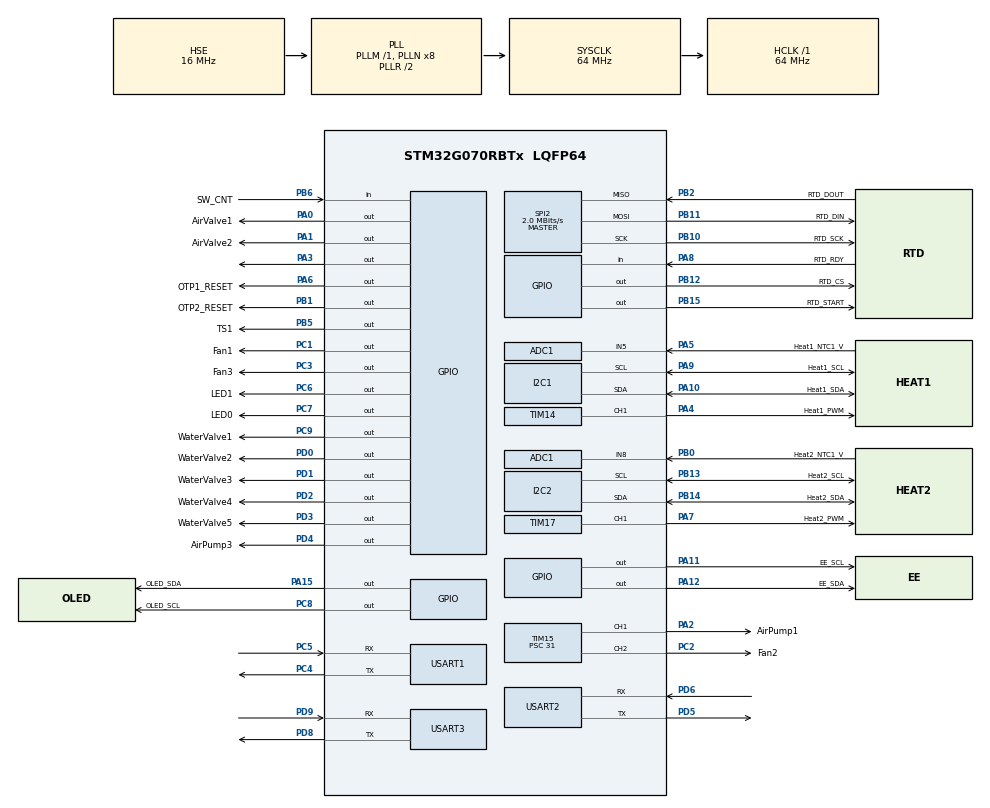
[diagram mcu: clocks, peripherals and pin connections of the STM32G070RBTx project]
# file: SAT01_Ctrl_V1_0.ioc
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ADC1.Channel-0\#ChannelRegularConversion=ADC_CHANNEL_5
ADC1.NbrOfConversionFlag=1
ADC1.Rank-0\#ChannelRegularConversion=1
ADC1.SamplingTime-0\#ChannelRegularConversion=ADC_SAMPLINGTIME_COMMON_1
ADC1.SelectedChannel=ADC_CHANNEL_5|ADC_CHANNEL_8
ADC1.master=1
Dma.Request0=USART2_RX
Dma.Request1=USART2_TX
Dma.Request2=USART1_RX
Dma.Request3=USART1_TX
Dma.Request4=USART3_RX
Dma.Request5=USART3_TX
Dma.USART1_RX.2.Direction=DMA_PERIPH_TO_MEMORY
Dma.USART1_RX.2.EventEnable=DISABLE
Dma.USART1_RX.2.Instance=DMA1_Channel5
Dma.USART1_RX.2.MemDataAlignment=DMA_MDATAALIGN_BYTE
Dma.USART1_RX.2.MemInc=DMA_MINC_ENABLE
Dma.USART1_RX.2.Mode=DMA_NORMAL
Dma.USART1_RX.2.PeriphDataAlignment=DMA_PDATAALIGN_BYTE
Dma.USART1_RX.2.PeriphInc=DMA_PINC_DISABLE
Dma.USART1_RX.2.Polarity=HAL_DMAMUX_REQ_GEN_RISING
Dma.USART1_RX.2.Priority=DMA_PRIORITY_LOW
Dma.USART1_RX.2.RequestNumber=1
Dma.USART1_RX.2.SignalID=NONE
Dma.USART1_RX.2.SyncEnable=DISABLE
Dma.USART1_RX.2.SyncPolarity=HAL_DMAMUX_SYNC_NO_EVENT
Dma.USART1_RX.2.SyncRequestNumber=1
Dma.USART1_RX.2.SyncSignalID=NONE
Dma.USART1_TX.3.Direction=DMA_MEMORY_TO_PERIPH
Dma.USART1_TX.3.EventEnable=DISABLE
Dma.USART1_TX.3.Instance=DMA1_Channel6
Dma.USART1_TX.3.MemDataAlignment=DMA_MDATAALIGN_BYTE
Dma.USART1_TX.3.MemInc=DMA_MINC_ENABLE
Dma.USART1_TX.3.Mode=DMA_NORMAL
Dma.USART1_TX.3.PeriphDataAlignment=DMA_PDATAALIGN_BYTE
Dma.USART1_TX.3.PeriphInc=DMA_PINC_DISABLE
Dma.USART1_TX.3.Polarity=HAL_DMAMUX_REQ_GEN_RISING
Dma.USART1_TX.3.Priority=DMA_PRIORITY_LOW
Dma.USART1_TX.3.RequestNumber=1
Dma.USART1_TX.3.SignalID=NONE
Dma.USART1_TX.3.SyncEnable=DISABLE
Dma.USART1_TX.3.SyncPolarity=HAL_DMAMUX_SYNC_NO_EVENT
Dma.USART1_TX.3.SyncRequestNumber=1
Dma.USART1_TX.3.SyncSignalID=NONE
Dma.USART2_RX.0.Direction=DMA_PERIPH_TO_MEMORY
Dma.USART2_RX.0.EventEnable=DISABLE
Dma.USART2_RX.0.Instance=DMA1_Channel1
Dma.USART2_RX.0.MemDataAlignment=DMA_MDATAALIGN_BYTE
Dma.USART2_RX.0.MemInc=DMA_MINC_ENABLE
Dma.USART2_RX.0.Mode=DMA_NORMAL
Dma.USART2_RX.0.PeriphDataAlignment=DMA_PDATAALIGN_BYTE
Dma.USART2_RX.0.PeriphInc=DMA_PINC_DISABLE
Dma.USART2_RX.0.Polarity=HAL_DMAMUX_REQ_GEN_RISING
Dma.USART2_RX.0.Priority=DMA_PRIORITY_LOW
Dma.USART2_RX.0.RequestNumber=1
Dma.USART2_RX.0.SignalID=NONE
Dma.USART2_RX.0.SyncEnable=DISABLE
Dma.USART2_RX.0.SyncPolarity=HAL_DMAMUX_SYNC_NO_EVENT
Dma.USART2_RX.0.SyncRequestNumber=1
Dma.USART2_RX.0.SyncSignalID=NONE
Dma.USART2_TX.1.Direction=DMA_MEMORY_TO_PERIPH
Dma.USART2_TX.1.EventEnable=DISABLE
Dma.USART2_TX.1.Instance=DMA1_Channel2
Dma.USART2_TX.1.MemDataAlignment=DMA_MDATAALIGN_BYTE
Dma.USART2_TX.1.MemInc=DMA_MINC_ENABLE
Dma.USART2_TX.1.Mode=DMA_NORMAL
Dma.USART2_TX.1.PeriphDataAlignment=DMA_PDATAALIGN_BYTE
Dma.USART2_TX.1.PeriphInc=DMA_PINC_DISABLE
Dma.USART2_TX.1.Polarity=HAL_DMAMUX_REQ_GEN_RISING
Dma.USART2_TX.1.Priority=DMA_PRIORITY_LOW
Dma.USART2_TX.1.RequestNumber=1
Dma.USART2_TX.1.SignalID=NONE
Dma.USART2_TX.1.SyncEnable=DISABLE
Dma.USART2_TX.1.SyncPolarity=HAL_DMAMUX_SYNC_NO_EVENT
Dma.USART2_TX.1.SyncRequestNumber=1
Dma.USART2_TX.1.SyncSignalID=NONE
Dma.USART3_RX.4.Direction=DMA_PERIPH_TO_MEMORY
Dma.USART3_RX.4.EventEnable=DISABLE
Dma.USART3_RX.4.Instance=DMA1_Channel3
Dma.USART3_RX.4.MemDataAlignment=DMA_MDATAALIGN_BYTE
Dma.USART3_RX.4.MemInc=DMA_MINC_ENABLE
Dma.USART3_RX.4.Mode=DMA_NORMAL
Dma.USART3_RX.4.PeriphDataAlignment=DMA_PDATAALIGN_BYTE
Dma.USART3_RX.4.PeriphInc=DMA_PINC_DISABLE
Dma.USART3_RX.4.Polarity=HAL_DMAMUX_REQ_GEN_RISING
Dma.USART3_RX.4.Priority=DMA_PRIORITY_LOW
Dma.USART3_RX.4.RequestNumber=1
Dma.USART3_RX.4.SignalID=NONE
Dma.USART3_RX.4.SyncEnable=DISABLE
Dma.USART3_RX.4.SyncPolarity=HAL_DMAMUX_SYNC_NO_EVENT
Dma.USART3_RX.4.SyncRequestNumber=1
Dma.USART3_RX.4.SyncSignalID=NONE
Dma.USART3_TX.5.Direction=DMA_MEMORY_TO_PERIPH
Dma.USART3_TX.5.EventEnable=DISABLE
Dma.USART3_TX.5.Instance=DMA1_Channel4
Dma.USART3_TX.5.MemDataAlignment=DMA_MDATAALIGN_BYTE
Dma.USART3_TX.5.MemInc=DMA_MINC_ENABLE
Dma.USART3_TX.5.Mode=DMA_NORMAL
Dma.USART3_TX.5.PeriphDataAlignment=DMA_PDATAALIGN_BYTE
Dma.USART3_TX.5.PeriphInc=DMA_PINC_DISABLE
Dma.USART3_TX.5.Polarity=HAL_DMAMUX_REQ_GEN_RISING
Dma.USART3_TX.5.Priority=DMA_PRIORITY_LOW
Dma.USART3_TX.5.RequestNumber=1
Dma.USART3_TX.5.SignalID=NONE
Dma.USART3_TX.5.SyncEnable=DISABLE
Dma.USART3_TX.5.SyncPolarity=HAL_DMAMUX_SYNC_NO_EVENT
Dma.USART3_TX.5.SyncRequestNumber=1
Dma.USART3_TX.5.SyncSignalID=NONE
FREERTOS.Tasks01=defaultTask,0,128,StartDefaultTask,Default,NULL,Dynamic,NULL,NULL
FREERTOS.configTIMER_TASK_PRIORITY=6
FREERTOS.configTOTAL_HEAP_SIZE=30000
FREERTOS.configUSE_TIMERS=1
I2C1.Timing=0x10B17DB5
I2C2.Timing=0x10B17DB5
Mcu.Family=STM32G0
Mcu.Name=STM32G070RBTx
Mcu.Package=LQFP64
NVIC.DMA1_Ch4_7_DMAMUX1_OVR_IRQn=true\:3\:0\:false\:false\:true\:true\:false\:true\:true
NVIC.DMA1_Channel1_IRQn=true\:3\:0\:false\:false\:true\:true\:false\:true\:true
NVIC.DMA1_Channel2_3_IRQn=true\:3\:0\:false\:false\:true\:true\:false\:true\:true
NVIC.TIM6_IRQn=true\:3\:0\:false\:false\:true\:false\:false\:true\:true
NVIC.TimeBase=TIM6_IRQn
NVIC.TimeBaseIP=TIM6
NVIC.USART1_IRQn=true\:3\:0\:false\:false\:true\:true\:true\:true\:true
NVIC.USART2_IRQn=true\:3\:0\:false\:false\:true\:true\:true\:true\:true
NVIC.USART3_4_IRQn=true\:3\:0\:false\:false\:true\:true\:true\:true\:true
PA0.GPIO_Label=AirValve1
PA0.Signal=GPIO_Output
PA1.GPIO_Label=AirValve2
PA1.Signal=GPIO_Output
PA10.GPIO_Label=Heat1_SDA
PA10.Mode=I2C
PA10.Signal=I2C1_SDA
PA11\ [PA9].GPIO_Label=EE_SCL
PA11\ [PA9].Signal=GPIO_Output
PA12\ [PA10].GPIO_Label=EE_SDA
PA12\ [PA10].Signal=GPIO_Output
PA13.Mode=Serial_Wire
PA13.Signal=SYS_SWDIO
PA14-BOOT0.Mode=Serial_Wire
PA14-BOOT0.Signal=SYS_SWCLK
PA15.GPIO_Label=OLED_SDA
PA15.Signal=GPIO_Output
PA2.GPIO_Label=AirPump1
PA2.Signal=S_TIM15_CH1
PA3.Signal=GPIO_Output
PA4.GPIO_Label=Heat1_PWM
PA4.Signal=S_TIM14_CH1
PA5.GPIO_Label=Heat1_NTC1_V
PA5.Mode=IN5
PA5.Signal=ADC1_IN5
PA6.GPIO_Label=OTP1_RESET
PA6.GPIO_ModeDefaultOutputPP=GPIO_MODE_OUTPUT_PP
PA6.GPIO_PuPd=GPIO_NOPULL
PA6.PinState=GPIO_PIN_RESET
PA6.Signal=GPIO_Output
PA7.GPIO_Label=Heat2_PWM
PA7.Signal=S_TIM17_CH1
PA8.GPIO_Label=RTD_RDY
PA8.Signal=GPIO_Input
PA9.GPIO_Label=Heat1_SCL
PA9.Mode=I2C
PA9.Signal=I2C1_SCL
PB0.GPIO_Label=Heat2_NTC1_V
PB0.Mode=IN8
PB0.Signal=ADC1_IN8
PB1.GPIO_Label=OTP2_RESET
PB1.Signal=GPIO_Output
PB10.GPIO_Label=RTD_SCK
PB10.Mode=Full_Duplex_Master
PB10.Signal=SPI2_SCK
PB11.GPIO_Label=RTD_DIN
PB11.Mode=Full_Duplex_Master
PB11.Signal=SPI2_MOSI
PB12.GPIO_Label=RTD_CS
PB12.Signal=GPIO_Output
PB13.GPIO_Label=Heat2_SCL
PB13.Mode=I2C
PB13.Signal=I2C2_SCL
PB14.GPIO_Label=Heat2_SDA
PB14.Mode=I2C
PB14.Signal=I2C2_SDA
PB15.GPIO_Label=RTD_START
PB15.Signal=GPIO_Output
PB2.GPIO_Label=RTD_DOUT
PB2.Mode=Full_Duplex_Master
PB2.Signal=SPI2_MISO
PB3.Signal=S_TIM1_CH2
PB4.Signal=S_TIM3_CH1
PB5.GPIO_Label=TS1
PB5.GPIO_Speed=GPIO_SPEED_FREQ_VERY_HIGH
PB5.Signal=GPIO_Output
PB6.GPIO_Label=SW_CNT
PB6.Signal=GPIO_Input
PC1.GPIO_Label=Fan1
PC1.Signal=GPIO_Output
PC14-OSC32_IN\ (PC14).Mode=LSE-External-Oscillator
PC14-OSC32_IN\ (PC14).Signal=RCC_OSC32_IN
PC15-OSC32_OUT\ (PC15).Mode=LSE-External-Oscillator
PC15-OSC32_OUT\ (PC15).Signal=RCC_OSC32_OUT
PC2.GPIO_Label=Fan2
PC2.Signal=S_TIM15_CH2
PC3.GPIO_Label=Fan3
PC3.Signal=GPIO_Output
PC4.Mode=Asynchronous
PC4.Signal=USART1_TX
PC5.Mode=Asynchronous
PC5.Signal=USART1_RX
PC6.GPIO_Label=LED1
PC6.Signal=GPIO_Output
PC7.GPIO_Label=LED0
PC7.Signal=GPIO_Output
PC8.GPIO_Label=OLED_SCL
PC8.Signal=GPIO_Output
PC9.GPIO_Label=WaterValve1
PC9.Signal=GPIO_Output
PD0.GPIO_Label=WaterValve2
PD0.Signal=GPIO_Output
PD1.GPIO_Label=WaterValve3
PD1.Signal=GPIO_Output
PD2.GPIO_Label=WaterValve4
PD2.Signal=GPIO_Output
PD3.GPIO_Label=WaterValve5
PD3.Signal=GPIO_Output
PD4.GPIO_Label=AirPump3
PD4.Signal=GPIO_Output
PD5.Mode=Asynchronous
PD5.Signal=USART2_TX
PD6.Mode=Asynchronous
PD6.Signal=USART2_RX
PD8.Mode=Asynchronous
PD8.Signal=USART3_TX
PD9.Mode=Asynchronous
PD9.Signal=USART3_RX
PF0-OSC_IN\ (PF0).Mode=HSE-External-Oscillator
PF0-OSC_IN\ (PF0).Signal=RCC_OSC_IN
PF1-OSC_OUT\ (PF1).Mode=HSE-External-Oscillator
PF1-OSC_OUT\ (PF1).Signal=RCC_OSC_OUT
ProjectManager.HeapSize=0x200
ProjectManager.StackSize=0x400
ProjectManager.TargetToolchain=CMake
RCC.ADCFreq_Value=64000000
RCC.AHBFreq_Value=64000000
RCC.CortexFreq_Value=64000000
RCC.EXTERNAL_CLOCK_VALUE=48000
RCC.HCLKFreq_Value=64000000
RCC.HSE_VALUE=16000000
RCC.HSI_VALUE=16000000
RCC.PLLSourceVirtual=RCC_PLLSOURCE_HSE
RCC.SYSCLKFreq_VALUE=64000000
RCC.SYSCLKSource=RCC_SYSCLKSOURCE_PLLCLK
RCC.VCOOutputFreq_Value=128000000
SH.S_TIM14_CH1.0=TIM14_CH1,PWM Generation1 CH1
SH.S_TIM15_CH1.0=TIM15_CH1,PWM Generation1 CH1
SH.S_TIM15_CH2.0=TIM15_CH2,PWM Generation2 CH2
SH.S_TIM17_CH1.0=TIM17_CH1,PWM Generation1 CH1
SH.S_TIM1_CH2.0=TIM1_CH2
SH.S_TIM3_CH1.0=TIM3_CH1
SPI2.BaudRatePrescaler=SPI_BAUDRATEPRESCALER_32
SPI2.CLKPhase=SPI_PHASE_2EDGE
SPI2.CalculateBaudRate=2.0 MBits/s
SPI2.DataSize=SPI_DATASIZE_8BIT
SPI2.Direction=SPI_DIRECTION_2LINES
SPI2.Mode=SPI_MODE_MASTER
SPI2.VirtualType=VM_MASTER
TIM14.Channel=TIM_CHANNEL_1
TIM14.Period=1999
TIM14.Prescaler=31
TIM15.Channel-PWM\ Generation1\ CH1=TIM_CHANNEL_1
TIM15.Channel-PWM\ Generation2\ CH2=TIM_CHANNEL_2
TIM15.Period=255
TIM15.Prescaler=31
TIM17.Channel=TIM_CHANNEL_1
TIM17.Period=1999
TIM17.Prescaler=31
TIM7.Prescaler=63
USART1.VirtualMode-Asynchronous=VM_ASYNC
USART2.VirtualMode-Asynchronous=VM_ASYNC
USART3.VirtualMode-Asynchronous=VM_ASYNC
VP_FREERTOS_VS_CMSIS_V1.Mode=CMSIS_V1
VP_SYS_VS_tim6.Mode=TIM6
VP_TIM14_VS_ClockSourceINT.Mode=Enable_Timer
VP_TIM16_VS_ClockSourceINT.Mode=Enable_Timer
VP_TIM17_VS_ClockSourceINT.Mode=Enable_Timer
VP_TIM7_VS_ClockSourceINT.Mode=Enable_Timer
board=custom

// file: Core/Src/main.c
/* USER CODE BEGIN Header */
/**
  ******************************************************************************
  * @file           : main.c
  * @brief          : Main program body
  ******************************************************************************
  * @attention
  *
  * Copyright (c) 2025 STMicroelectronics.
  * All rights reserved.
  *
  * This software is licensed under terms that can be found in the LICENSE file
  * in the root directory of this software component.
  * If no LICENSE file comes with this software, it is provided AS-IS.
  *
  ******************************************************************************
  */
/* USER CODE END Header */
#include "main.h"
#include "cmsis_os.h"
#include "adc.h"
#include "i2c.h"
#include "spi.h"
#include "tim.h"
#include "usart.h"
#include "gpio.h"

/* USER CODE BEGIN Includes */
#include "ads1248.h"
#include "delay.h"
#include "pid.h"
#include "water.h"
#include "heat.h"
/* USER CODE END Includes */

/* USER CODE BEGIN PTD */
PID_TypeDef RightHeat,LeftHeat;
/* USER CODE END PTD */

/* USER CODE BEGIN PV */

extern volatile uint8_t uart_rx_byte;
extern volatile uint8_t uart_rx_buffer[UART_RX_BUF_SIZE];
/* USER CODE END PV */

void SystemClock_Config(void);
void MX_FREERTOS_Init(void);

int main(void)
{

  /* MCU Configuration--------------------------------------------------------*/

  /* Reset of all peripherals, Initializes the Flash interface and the Systick. */
  HAL_Init();

  /* Configure the system clock */
  SystemClock_Config();

  /* Initialize all configured peripherals */
  MX_GPIO_Init();
  MX_ADC1_Init();
  MX_I2C1_Init();
  MX_I2C2_Init();
  MX_SPI2_Init();
  MX_TIM14_Init();
  MX_TIM16_Init();
  MX_TIM17_Init();
  MX_USART1_UART_Init();
  MX_USART2_UART_Init();
  MX_USART3_UART_Init();
  MX_TIM15_Init();
  MX_TIM7_Init();
  /* USER CODE BEGIN 2 */
	delay_init(64);
	HAL_Delay(100);
	Fan1(1);
	ADS1248_Init();

	HAL_UART_Receive_IT(&huart3, (uint8_t *)&uart_rx_byte, 1);  // ��ʼ���յ�1�ֽ�
  /* USER CODE END 2 */

  /* Call init function for freertos objects (in cmsis_os2.c) */
  MX_FREERTOS_Init();

  /* Start scheduler */
  osKernelStart();

  /* We should never get here as control is now taken by the scheduler */

  /* Infinite loop */
  while (1)
  {

  }
}

void SystemClock_Config(void)
{
  RCC_OscInitTypeDef RCC_OscInitStruct = {0};
  RCC_ClkInitTypeDef RCC_ClkInitStruct = {0};

  /** Configure the main internal regulator output voltage
  */
  HAL_PWREx_ControlVoltageScaling(PWR_REGULATOR_VOLTAGE_SCALE1);

  /** Initializes the RCC Oscillators according to the specified parameters
  * in the RCC_OscInitTypeDef structure.
  */
  RCC_OscInitStruct.OscillatorType = RCC_OSCILLATORTYPE_HSE;
  RCC_OscInitStruct.HSEState = RCC_HSE_ON;
  RCC_OscInitStruct.PLL.PLLState = RCC_PLL_ON;
  RCC_OscInitStruct.PLL.PLLSource = RCC_PLLSOURCE_HSE;
  RCC_OscInitStruct.PLL.PLLM = RCC_PLLM_DIV1;
  RCC_OscInitStruct.PLL.PLLN = 8;
  RCC_OscInitStruct.PLL.PLLP = RCC_PLLP_DIV2;
  RCC_OscInitStruct.PLL.PLLR = RCC_PLLR_DIV2;
  if (HAL_RCC_OscConfig(&RCC_OscInitStruct) != HAL_OK)
  {
    Error_Handler();
  }

  /** Initializes the CPU, AHB and APB buses clocks
  */
  RCC_ClkInitStruct.ClockType = RCC_CLOCKTYPE_HCLK|RCC_CLOCKTYPE_SYSCLK
                              |RCC_CLOCKTYPE_PCLK1;
  RCC_ClkInitStruct.SYSCLKSource = RCC_SYSCLKSOURCE_PLLCLK;
  RCC_ClkInitStruct.AHBCLKDivider = RCC_SYSCLK_DIV1;
  RCC_ClkInitStruct.APB1CLKDivider = RCC_HCLK_DIV1;

  if (HAL_RCC_ClockConfig(&RCC_ClkInitStruct, FLASH_LATENCY_2) != HAL_OK)
  {
    Error_Handler();
  }
}

void HAL_TIM_PeriodElapsedCallback(TIM_HandleTypeDef *htim)
{
  if (htim->Instance == TIM1)
  {
    HAL_IncTick();
  }
}

void Error_Handler(void)
{
  __disable_irq();
  while (1)
  {
  }
}

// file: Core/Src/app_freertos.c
/* USER CODE BEGIN Header */
/**
  ******************************************************************************
  * File Name          : app_freertos.c
  * Description        : Code for freertos applications
  ******************************************************************************
  * @attention
  *
  * Copyright (c) 2025 STMicroelectronics.
  * All rights reserved.
  *
  * This software is licensed under terms that can be found in the LICENSE file
  * in the root directory of this software component.
  * If no LICENSE file comes with this software, it is provided AS-IS.
  *
  ******************************************************************************
  */
/* USER CODE END Header */

#include "FreeRTOS.h"
#include "task.h"
#include "main.h"
#include "cmsis_os.h"

/* USER CODE BEGIN Includes */
#include <string.h>
#include "heat.h"
#include "ads1248.h"
#include "Pressure_sensor.h"
#include "apply.h"
#include "ds18b20.h"
#include "water.h"
/* USER CODE END Includes */

/* USER CODE BEGIN Variables */
volatile u8 OTP1_RESET_Value,OTP2_RESET_Value;
volatile u16 RTDTemperature[2];
volatile s16 WaterTemperature;
volatile u8 WaterSensor;

extern volatile u8 WaterState;

extern volatile u8 WorkMode;

extern PID_TypeDef RightHeat,LeftHeat;
/*
0x00 ����
0x01 ���ۼ�ѹ

0xFF ����ǰ�ر�����
*/

extern volatile RingBuffer_t uart_ring_buffer;
extern volatile uint8_t uart_rx_byte;
extern u16 left_pressure, right_pressure;

QueueHandle_t frameQueue;

/* USER CODE END Variables */
osThreadId defaultTaskHandle;
osThreadId LED_BLINKHandle;
osThreadId OTP_READHandle;
osThreadId RTDReadHandle;
osThreadId FrameParseHandle;
osThreadId FrameHandlerHandle;
osThreadId PressureReadHandle;
osThreadId WorkModeTaskHandle;
osThreadId LowFreq_TaskHandle;

/* USER CODE BEGIN FunctionPrototypes */
int RingBuffer_GetByte(uint8_t *out_byte) {
    if (uart_ring_buffer.head == uart_ring_buffer.tail) {
        return 0;  // ������Ϊ��
    }

    *out_byte = uart_ring_buffer.buffer[uart_ring_buffer.tail];
    uart_ring_buffer.tail = (uart_ring_buffer.tail + 1) % UART_RX_BUF_SIZE;
    return 1;
}

/* USER CODE END FunctionPrototypes */

void StartDefaultTask(void const * argument);
void vTaskLEDBlink(void const * argument);
void vTaskOTPRead(void const * argument);
void vTaskRTDRead(void const * argument);
void vTaskFrameParse(void const * argument);
void vTaskFrameHandler(void const * argument);
void vTaskPressureRead(void const * argument);
void vTaskWorkMode(void const * argument);
void vTaskLowFreq(void const * argument);

void MX_FREERTOS_Init(void); /* (MISRA C 2004 rule 8.1) */

void MX_FREERTOS_Init(void) {

  /* Create the thread(s) */
  /* definition and creation of defaultTask */
  osThreadDef(defaultTask, StartDefaultTask, osPriorityNormal, 0, 128);
  defaultTaskHandle = osThreadCreate(osThread(defaultTask), NULL);

  /* definition and creation of LED_BLINK */
  osThreadDef(LED_BLINK, vTaskLEDBlink, osPriorityIdle, 0, 128);
  LED_BLINKHandle = osThreadCreate(osThread(LED_BLINK), NULL);

  /* definition and creation of OTP_READ */
  osThreadDef(OTP_READ, vTaskOTPRead, osPriorityIdle, 0, 128);
  OTP_READHandle = osThreadCreate(osThread(OTP_READ), NULL);

  /* definition and creation of RTDRead */
  osThreadDef(RTDRead, vTaskRTDRead, osPriorityIdle, 0, 128);
  RTDReadHandle = osThreadCreate(osThread(RTDRead), NULL);

  /* definition and creation of FrameParse */
  osThreadDef(FrameParse, vTaskFrameParse, osPriorityLow, 0, 128);
  FrameParseHandle = osThreadCreate(osThread(FrameParse), NULL);

  /* definition and creation of FrameHandler */
  osThreadDef(FrameHandler, vTaskFrameHandler, osPriorityIdle, 0, 128);
  FrameHandlerHandle = osThreadCreate(osThread(FrameHandler), NULL);

  /* definition and creation of PressureRead */
  osThreadDef(PressureRead, vTaskPressureRead, osPriorityIdle, 0, 128);
  PressureReadHandle = osThreadCreate(osThread(PressureRead), NULL);

  /* definition and creation of WorkModeTask */
  osThreadDef(WorkModeTask, vTaskWorkMode, osPriorityIdle, 0, 256);
  WorkModeTaskHandle = osThreadCreate(osThread(WorkModeTask), NULL);

  /* definition and creation of LowFreq_Task */
  osThreadDef(LowFreq_Task, vTaskLowFreq, osPriorityIdle, 0, 128);
  LowFreq_TaskHandle = osThreadCreate(osThread(LowFreq_Task), NULL);

  /* USER CODE BEGIN RTOS_THREADS */
  /* add threads, ... */
	frameQueue = xQueueCreate(10, sizeof(ProtocolFrame_t));
	if (frameQueue == NULL) {
//			Error_Handler();  // �����Զ���һ���ϵ��LED����
	}
  /* USER CODE END RTOS_THREADS */

}

void StartDefaultTask(void const * argument)
{
  for(;;)
  {
		osDelay(1);
  }
}

void vTaskLEDBlink(void const * argument)
{
  /* USER CODE BEGIN vTaskLEDBlink */
  /* Infinite loop */
  for(;;)
  {

		HAL_GPIO_TogglePin(LED0_GPIO_Port,LED0_Pin);
		HAL_GPIO_TogglePin(LED1_GPIO_Port, LED1_Pin);

    osDelay(500);
  }
  /* USER CODE END vTaskLEDBlink */
}

void vTaskOTPRead(void const * argument)
{
  /* USER CODE BEGIN vTaskOTPRead */
  /* Infinite loop */
  for(;;)
  {

		OTP1_RESET_Value=HAL_GPIO_ReadPin(OTP1_RESET_GPIO_Port,OTP1_RESET_Pin);
		OTP2_RESET_Value=HAL_GPIO_ReadPin(OTP2_RESET_GPIO_Port,OTP2_RESET_Pin);
    osDelay(500);
  }
  /* USER CODE END vTaskOTPRead */
}

void vTaskRTDRead(void const * argument)
{
  /* USER CODE BEGIN vTaskRTDRead */
	u8 RTDChannel=RTD1;
  /* Infinite loop */
  for(;;)
  {
		if(HAL_GPIO_ReadPin(RTD_RDY_GPIO_Port,RTD_RDY_Pin)==GPIO_PIN_RESET)
		{
			RTDTemperature[RTDChannel]=ADC2Temperature(ADS1248_Read());
//		temp3=ADC2Temperature(RTDTemperature[RTDChannel]);
			RTDChannel=1^RTDChannel;
			ADS1248_ChangeChannel(RTDChannel);
		}
    osDelay(30);
  }
  /* USER CODE END vTaskRTDRead */
}

void vTaskFrameParse(void const * argument)
{
  /* USER CODE BEGIN vTaskFrameParse */
	uint8_t parse_buffer[UART_RX_BUF_SIZE];
  uint16_t parse_index = 0;
  /* Infinite loop */
  for(;;)
  {
     uint8_t byte;
        if (RingBuffer_GetByte(&byte)) {
            parse_buffer[parse_index++] = byte;

            while (parse_index >= 5) // ����֡ͷ(2)+����(1)+���(1)+ID(2)+CRC(2)
            {
                if (parse_buffer[0] != 0x5A || parse_buffer[1] != 0xA5) {
                    memmove(parse_buffer, &parse_buffer[1], --parse_index);
                    continue;
                }

                uint8_t len = parse_buffer[2];
                uint16_t full_frame_len = 3 + len;

                if (parse_index < full_frame_len) break; // ���ݻ�û����

                // CRC У��
                uint16_t calc_crc = ModbusCRC16(&parse_buffer[3], len - 2);  // ���� CRC �����ǰ len-2 �ֽ�
                uint16_t recv_crc = (parse_buffer[3 + len - 1] << 8) | parse_buffer[3 + len - 2];  // ע�⣺Modbus CRC ���ֽ���ǰ��

                if (calc_crc == recv_crc) {
                    // �Ϸ�֡
                    ProtocolFrame_t frame;
                    frame.frame_id[0] = parse_buffer[4];
                    frame.frame_id[1] = parse_buffer[5];
                    frame.payload_len = len - 2 - 3;  // ��ȥ CRC2�ֽ� �� ID+���3�ֽ�
                    frame.payload = pvPortMalloc(frame.payload_len);
                    memcpy(frame.payload, &parse_buffer[6], frame.payload_len);
                    xQueueSend(frameQueue, &frame, 0);
                }

                // �Ƴ��Ѵ���֡
                parse_index -= full_frame_len;
                memmove(parse_buffer, &parse_buffer[full_frame_len], parse_index);
            }
        } else {
            vTaskDelay(pdMS_TO_TICKS(2));
        }
  }
  /* USER CODE END vTaskFrameParse */
}

void vTaskFrameHandler(void const * argument)
{
  /* USER CODE BEGIN vTaskFrameHandler */
	 ProtocolFrame_t frame;
  /* Infinite loop */
  for(;;)
  {
		if (xQueueReceive(frameQueue, &frame, portMAX_DELAY) == pdPASS) {
            FrameDispatcher(&frame);  // �� �ַ�����
        }
  }
  /* USER CODE END vTaskFrameHandler */
}

void vTaskPressureRead(void const * argument)
{
  /* USER CODE BEGIN vTaskPressureRead */
  /* Infinite loop */
  for(;;)
  {
		pressure_sensor_read();
    osDelay(100);
  }
  /* USER CODE END vTaskPressureRead */
}

void vTaskWorkMode(void const * argument)
{
  /* USER CODE BEGIN vTaskWorkMode */
	u8 timer_100ms,timer_500ms;
	u16 timer_5000ms;
	u8 ReturnData;

  /* Infinite loop */
  for(;;)
  {
		if(timer_100ms==10)timer_100ms=0;
		if(timer_500ms==50)timer_500ms=0;
		if(timer_5000ms==500)timer_5000ms=0;
		if(timer_5000ms==0)
		{
			SendWaterState(WaterState,WaterSensor,WaterTemperature);
		}

		if(WorkMode==0x00)
		{

		}
		else if(WorkMode<=0x0F)
		{
			if((WorkMode&0x03)!=0)//��ѹ
			{
				Work_Expression(WorkMode&0x03);
				if(timer_100ms==0)
				{
					SendPressure(right_pressure,left_pressure);
				}
			}
			if((WorkMode&0x0C)!=0)//����
			{
				Work_Heat((WorkMode&0x0C)>>2);
				if(timer_100ms==0)
				{
					SendEyeTemperature(RTDTemperature[0],RTDTemperature[1]);
				}
			}
		}
		else if(WorkMode<=0x3F)
		{
			if((WorkMode&0x10)==0x10)//��ˮ
			{
				ReturnData=Work_DrainWater();
				if(ReturnData!=2)
				{
					SendDrainWaterState(ReturnData);
				}
			}
			else if((WorkMode&0x20)==0x20)//��ˮ
			{
				ReturnData=Work_AddWater();
				if(ReturnData!=2)
				{
					SendAddWaterState(ReturnData);
				}
			}
		}
		else if(WorkMode==0xFF)
		{

		}
		else
		{
			WorkMode=0xFF;
		}

    osDelay(10);
		timer_100ms++;
		timer_500ms++;
		timer_5000ms++;
  }
  /* USER CODE END vTaskWorkMode */
}

void vTaskLowFreq(void const * argument)
{
  /* USER CODE BEGIN vTaskLowFreq */
  /* Infinite loop */
  for(;;)
  {
		WaterTemperature=DS18B20_Get_Temp();
		WaterSensor=HAL_GPIO_ReadPin(WS1_GPIO_Port,WS1_Pin)^ 0x01;
    osDelay(5000);
  }
  /* USER CODE END vTaskLowFreq */
}
